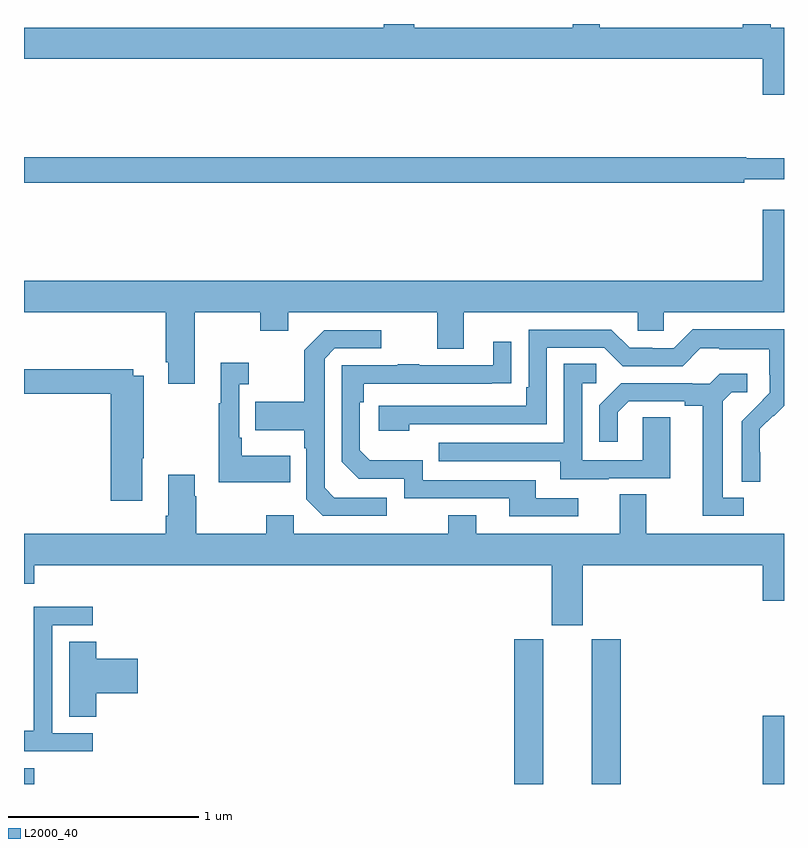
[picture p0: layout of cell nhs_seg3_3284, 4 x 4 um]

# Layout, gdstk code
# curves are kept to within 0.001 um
import gdstk
lib = gdstk.Library(unit=1e-6, precision=1e-09)
def R(c, l, rs):  # rectangles x0, y0, x1, y1
    for r in rs: c.add(gdstk.rectangle(r[:2], r[2:], *l))
def P(c, l, *ps):  # polygons
    for p in ps: c.add(gdstk.Polygon(p, *l))
L2000_40 = (2000, 40)

nhs_seg3_3284 = lib.new_cell('nhs_seg3_3284')
R(nhs_seg3_3284, L2000_40, [(281,730.4,281.054,730.483), (283.58,730.4,283.732,731.163), (283.988,730.4,284.141,731.163), (284.888,730.4,285,730.759)])
P(nhs_seg3_3284, L2000_40, [(285,734.38),(284.931,734.38),(284.931,734.4),(284.783,734.4),(284.783,734.38),(284.029,734.38),(284.029,734.4),(283.889,734.4),(283.889,734.38),(283.053,734.38),(283.053,734.4),(282.893,734.4),(282.893,734.38),(281,734.38),(281,734.216),(284.888,734.216),(284.888,734.028),(285,734.028)],
  [(284.792,733.583),(285,733.583),(285,733.693),(284.8,733.693),(284.8,733.7),(281,733.7),(281,733.564),(284.792,733.564)],
  [(281.899,732.884),(282.244,732.884),(282.244,732.785),(282.391,732.785),(282.391,732.884),(283.175,732.884),(283.175,732.69),(283.315,732.69),(283.315,732.884),(284.229,732.884),(284.229,732.786),(284.367,732.786),(284.367,732.884),(285,732.884),(285,733.423),(284.888,733.423),(284.888,733.048),(281,733.048),(281,732.884),(281.747,732.884),(281.747,732.619),(281.759,732.619),(281.759,732.507),(281.899,732.507)],
  [(284.874,732.146),(284.873,732.269),(284.943,732.339),(284.946,732.336),(285,732.39),(285,732.793),(284.521,732.793),(284.421,732.693),(284.306,732.693),(284.306,732.696),(284.187,732.696),(284.091,732.792),(283.656,732.792),(283.656,732.487),(283.643,732.487),(283.643,732.39),(282.867,732.39),(282.867,732.26),(283.028,732.26),(283.028,732.294),(283.752,732.294),(283.752,732.696),(284.055,732.696),(284.151,732.6),(284.466,732.6),(284.559,732.693),(284.659,732.693),(284.659,732.689),(284.922,732.689),(284.922,732.555),(284.924,732.555),(284.924,732.458),(284.778,732.31),(284.778,731.992),(284.874,731.992)],
  [(282.91,731.907),(282.633,731.907),(282.582,731.958),(282.582,732.639),(282.636,732.693),(282.88,732.693),(282.88,732.789),(282.579,732.789),(282.474,732.683),(282.474,732.411),(282.217,732.411),(282.217,732.263),(282.474,732.263),(282.474,732.167),(282.486,732.167),(282.486,731.898),(282.573,731.811),(282.91,731.811)],
  [(283.918,731.904),(283.693,731.904),(283.693,732),(283.098,732),(283.098,732.103),(282.821,732.103),(282.768,732.156),(282.768,732.41),(282.788,732.41),(282.788,732.507),(283.565,732.508),(283.565,732.727),(283.469,732.727),(283.469,732.603),(283.079,732.603),(283.079,732.608),(282.967,732.608),(282.967,732.603),(282.672,732.603),(282.672,732.096),(282.762,732.006),(283.002,732.006),(283.002,731.904),(283.553,731.904),(283.553,731.808),(283.918,731.808)],
  [(282.401,732.127),(282.145,732.127),(282.145,732.223),(282.132,732.223),(282.132,732.503),(282.184,732.503),(282.184,732.616),(282.035,732.616),(282.035,732.403),(282.024,732.403),(282.024,731.987),(282.401,731.987)],
  [(284.077,732.009),(284.401,732.009),(284.401,732.329),(284.256,732.329),(284.256,732.105),(283.938,732.105),(283.938,732.51),(284.011,732.51),(284.011,732.611),(283.842,732.611),(283.842,732.195),(283.183,732.195),(283.183,732.099),(283.823,732.099),(283.823,732.005),(284.077,732.005)],
  [(281.623,732.115),(281.631,732.115),(281.631,732.55),(281.574,732.55),(281.574,732.583),(281,732.583),(281,732.454),(281.456,732.454),(281.456,731.892),(281.623,731.892)],
  [(284.788,731.907),(284.677,731.907),(284.677,732.415),(284.724,732.462),(284.806,732.462),(284.806,732.559),(284.662,732.559),(284.61,732.507),(284.516,732.507),(284.516,732.51),(284.144,732.51),(284.028,732.394),(284.028,732.201),(284.125,732.201),(284.125,732.357),(284.182,732.414),(284.477,732.414),(284.477,732.392),(284.573,732.392),(284.573,731.811),(284.788,731.811)],
  [(283.942,731.552),(284.888,731.552),(284.888,731.364),(285,731.364),(285,731.716),(284.275,731.716),(284.275,731.924),(284.135,731.924),(284.135,731.716),(283.381,731.716),(283.381,731.815),(283.234,731.815),(283.234,731.716),(282.42,731.716),(282.42,731.815),(282.274,731.815),(282.274,731.716),(281.907,731.716),(281.907,731.915),(281.899,731.915),(281.899,732.028),(281.759,732.028),(281.759,731.812),(281.747,731.812),(281.747,731.716),(281,731.716),(281,731.453),(281.054,731.453),(281.054,731.552),(283.778,731.552),(283.778,731.235),(283.942,731.235)],
  [(281.362,730.668),(281.148,730.668),(281.148,731.235),(281.362,731.235),(281.362,731.334),(281.052,731.334),(281.052,730.904),(281.05,730.904),(281.05,730.681),(281,730.681),(281,730.572),(281.362,730.572)],
  [(281.381,730.877),(281.599,730.877),(281.599,731.06),(281.381,731.06),(281.381,731.15),(281.237,731.15),(281.237,730.753),(281.381,730.753)])

lib.write_gds('nhs_seg3_3284.gds')
